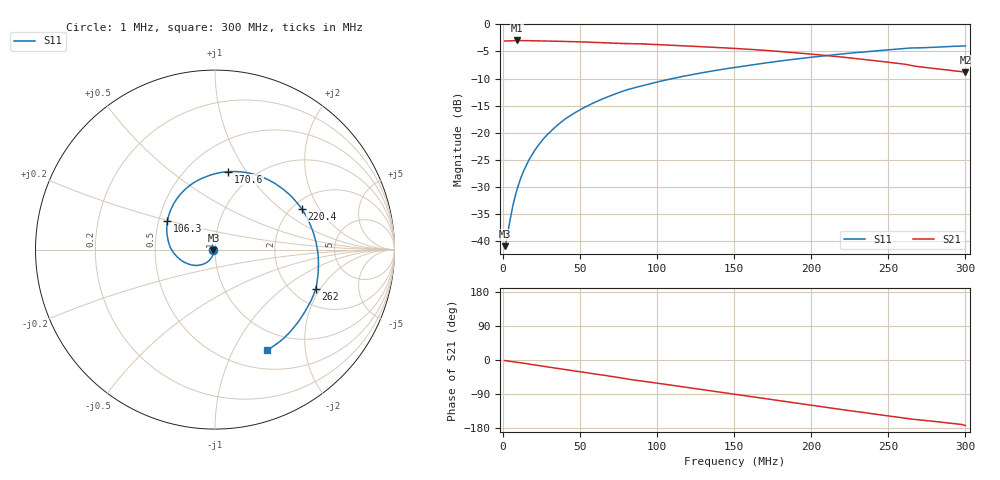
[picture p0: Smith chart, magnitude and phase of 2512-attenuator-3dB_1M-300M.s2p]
# HZ S RI R 50
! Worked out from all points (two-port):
!   3030 points, 1 MHz to 300 MHz, reference 50 ohm
!   highest |S21| = -2.98 dB at 9.193 MHz (marker M1); lowest = -8.8 dB at 300 MHz (marker M2)
!   |S21| within 3 dB of the highest: start of sweep to 217.9 MHz
!   lowest |S11| = -40.9 dB at 1 MHz (marker M3), VSWR 1.02, Z = 49.1 - j0.23 ohm
!   |S11| at or under -10 dB: start of sweep to 109.9 MHz
!   S12 and S22 are empty: the file has one direction only
!   S11 on the Smith chart (normalised r, x): 1 MHz: 0.98, -0.00; 106.3 MHz: 0.56, +0.19; 170.6 MHz: 0.77, +0.83; 220.4 MHz: 2.24, +1.43; 262 MHz: 2.64, -1.82; 300 MHz: 0.73, -1.37
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1000000  -0.00874 -0.00234  0.7009 -0.0179  0 0  0 0
2381968  -0.00822 -0.00655  0.701 -0.0277  0 0  0 0
6133024  -0.0091 -0.0185  0.703 -0.0523  0 0  0 0
9193096  -0.0116 -0.0282  0.7054 -0.0732  0 0  0 0
1.58068e7  -0.0218 -0.0482  0.6955 -0.1235  0 0  0 0
2.478959e7  -0.0444 -0.0704  0.6766 -0.1894  0 0  0 0
3.762215e7  -0.0898 -0.0875  0.6378 -0.2783  0 0  0 0
5.084956e7  -0.1439 -0.082  0.5854 -0.3606  0 0  0 0
7.91799e7  -0.2458 0.00563  0.4359 -0.5011  0 0  0 0
1.006991e8  -0.2685 0.1234  0.3097 -0.5705  0 0  0 0
1.063257e8  -0.265 0.1575  0.2749 -0.5821  0 0  0 0
1.279436e8  -0.2107 0.2859  0.1374 -0.6068  0 0  0 0
1.505487e8  -0.0837 0.3917  -0.00475 -0.598  0 0  0 0
1.705872e8  0.0731 0.4343  -0.1209 -0.5613  0 0  0 0
1.85394e8  0.2035 0.4233  -0.1963 -0.516  0 0  0 0
2.003982e8  0.3349 0.3678  -0.2616 -0.4612  0 0  0 0
2.204368e8  0.4824 0.228  -0.3276 -0.3745  0 0  0 0
2.353423e8  0.5513 0.083  -0.3586 -0.3072  0 0  0 0
2.502478e8  0.5763 -0.0815  -0.3774 -0.2383  0 0  0 0
2.619945e8  0.5604 -0.2195  -0.3832 -0.1843  0 0  0 0
2.817369e8  0.4496 -0.4209  -0.3717 -0.1144  0 0  0 0
2.999986e8  0.2906 -0.5608  -0.3596 -0.0448  0 0  0 0
